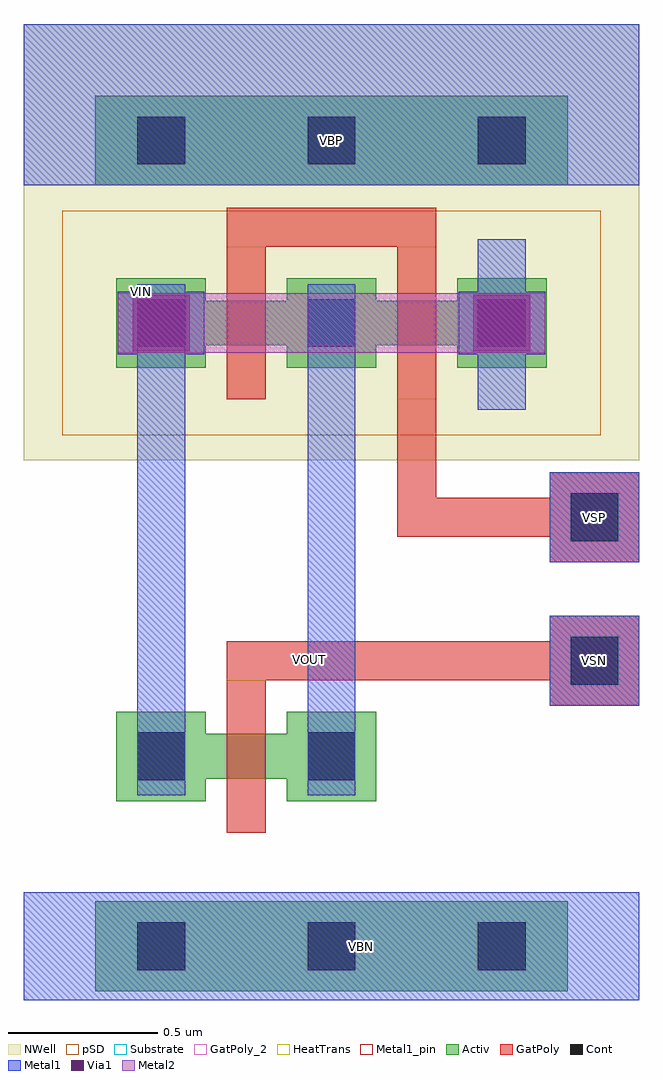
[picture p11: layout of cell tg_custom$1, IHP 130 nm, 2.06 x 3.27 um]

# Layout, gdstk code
import gdstk
lib = gdstk.Library(unit=1e-6, precision=5e-09)
def R(c, l, rs):  # rectangles x0, y0, x1, y1
    for r in rs: c.add(gdstk.rectangle(r[:2], r[2:], *l))
def A(c, l, x, y, w, h, nx, ny, dx, dy):  # array of equal rectangles
    R(c, l, [(x+i*dx, y+j*dy, x+i*dx+w, y+j*dy+h) for i in range(nx) for j in range(ny)])
Activ = (1, 0)
GatPoly = (5, 0)
GatPoly_2 = (5, 2)
Cont = (6, 0)
Metal1 = (8, 0)
Metal1_pin = (8, 2)
Metal2 = (10, 0)
pSD = (14, 0)
Via1 = (19, 0)
NWell = (31, 0)
Substrate = (40, 0)
HeatTrans = (51, 0)

pmos_3 = lib.new_cell('pmos$3')
A(pmos_3, Activ, 0, 0, 0.3, 0.3, 3, 1, 0.57, 0)
R(pmos_3, Activ, [(0,0.075,1.44,0.225)])
R(pmos_3, GatPoly, [(0.37,-0.105,0.5,0.405), (0.37,-0.105,0.5,0.405), (0.94,-0.105,1.07,0.405)])
A(pmos_3, Cont, 0.07, 0.07, 0.16, 0.16, 3, 1, 0.57, 0)
R(pmos_3, Metal1, [(0.07,0.02,0.23,0.28), (0.07,0.02,0.23,0.28), (0.64,0.02,0.8,0.28), (0.64,0.02,0.8,0.28), (1.21,0.02,1.37,0.28)])
R(pmos_3, pSD, [(-0.18,-0.225,1.62,0.525)])
R(pmos_3, NWell, [(-0.31,-0.31,1.75,0.61)])
R(pmos_3, Substrate, [(1.14,0,1.44,0.3)])
R(pmos_3, HeatTrans, [(0.37,-0.105,0.5,0.405), (0.94,-0.105,1.07,0.405)])
pmos_3.add(gdstk.Label('pmos', (0.435,0.15), layer=63, texttype=0))
pmos_3.add(gdstk.Label('pmos', (0.435,0.15), layer=51, texttype=0))
pmos_3.add(gdstk.Label('pmos', (1.005,0.15), layer=51, texttype=0))

nmos_1 = lib.new_cell('nmos$1')
R(nmos_1, Activ, [(0,0,0.3,0.3), (0.57,0,0.87,0.3), (0,0.075,0.87,0.225)])
R(nmos_1, GatPoly, [(0.37,-0.105,0.5,0.405)])
R(nmos_1, GatPoly_2, [(0.37,-0.105,0.5,0.405)])
R(nmos_1, Cont, [(0.07,0.07,0.23,0.23), (0.64,0.07,0.8,0.23)])
R(nmos_1, Metal1, [(0.07,0.02,0.23,0.28), (0.64,0.02,0.8,0.28)])
R(nmos_1, Metal1_pin, [(0.07,0.02,0.23,0.28), (0.64,0.02,0.8,0.28)])
R(nmos_1, HeatTrans, [(0.37,-0.105,0.5,0.405)])
nmos_1.add(gdstk.Label('nmos', (0.435,0.15), layer=63, texttype=0))
nmos_1.add(gdstk.Label('nmos', (0.435,0.15), layer=51, texttype=0))

tg_custom_1 = lib.new_cell('tg_custom$1')
R(tg_custom_1, Activ, [(0.445,0.87,2.025,1.17), (0.445,0.87,2.025,1.17), (0.445,0.87,2.025,1.17), (0.445,0.87,2.025,1.17), (0.445,0.87,2.025,1.17), (0.445,0.87,2.025,1.17), (0.445,0.87,2.025,1.17), (0.445,0.87,2.025,1.17), (0.445,0.87,2.025,1.17), (0.445,0.87,2.025,1.17), (0.445,3.565,2.025,3.865), (0.445,3.565,2.025,3.865), (0.445,3.565,2.025,3.865), (0.445,3.565,2.025,3.865), (0.445,3.565,2.025,3.865), (0.445,3.565,2.025,3.865), (0.445,3.565,2.025,3.865), (0.445,3.565,2.025,3.865), (0.445,3.565,2.025,3.865), (0.445,3.565,2.025,3.865)])
R(tg_custom_1, GatPoly, [(1.965,1.825,2.265,2.125), (1.965,1.825,2.265,2.125), (1.965,1.825,2.265,2.125), (1.965,1.825,2.265,2.125), (1.965,1.825,2.265,2.125), (1.965,1.825,2.265,2.125), (1.965,1.825,2.265,2.125), (1.965,1.825,2.265,2.125), (1.965,1.825,2.265,2.125), (1.965,1.825,2.265,2.125), (0.885,1.91,1.965,2.04), (0.885,1.91,1.965,2.04), (0.885,1.91,1.965,2.04), (0.885,1.91,1.965,2.04), (0.885,1.91,1.965,2.04), (0.885,1.91,1.965,2.04), (0.885,1.91,1.965,2.04), (0.885,1.91,1.965,2.04), (0.885,1.91,1.965,2.04), (0.885,1.91,1.965,2.04), (1.965,2.305,2.265,2.605), (1.965,2.305,2.265,2.605), (1.965,2.305,2.265,2.605), (1.965,2.305,2.265,2.605), (1.965,2.305,2.265,2.605), (1.965,2.305,2.265,2.605), (1.965,2.305,2.265,2.605), (1.965,2.305,2.265,2.605), (1.965,2.305,2.265,2.605), (1.965,2.305,2.265,2.605), (1.455,2.39,1.965,2.52), (1.455,2.39,1.965,2.52), (1.455,2.39,1.965,2.52), (1.455,2.39,1.965,2.52), (1.455,2.39,1.965,2.52), (1.455,2.39,1.965,2.52), (1.455,2.39,1.965,2.52), (1.455,2.39,1.965,2.52), (1.455,2.39,1.965,2.52), (1.455,2.39,1.965,2.52), (1.455,2.39,1.585,2.85), (1.455,2.39,1.585,2.85), (1.455,2.39,1.585,2.85), (1.455,2.39,1.585,2.85), (1.455,2.39,1.585,2.85), (1.455,2.39,1.585,2.85), (1.455,2.39,1.585,2.85), (1.455,2.39,1.585,2.85), (1.455,2.39,1.585,2.85), (1.455,2.39,1.585,2.85), (0.885,3.36,1.585,3.49), (0.885,3.36,1.585,3.49), (0.885,3.36,1.585,3.49), (0.885,3.36,1.585,3.49), (0.885,3.36,1.585,3.49), (0.885,3.36,1.585,3.49), (0.885,3.36,1.585,3.49), (0.885,3.36,1.585,3.49), (0.885,3.36,1.585,3.49), (0.885,3.36,1.585,3.49)])
R(tg_custom_1, Cont, [(0.585,0.94,0.745,1.1), (0.585,0.94,0.745,1.1), (0.585,0.94,0.745,1.1), (0.585,0.94,0.745,1.1), (0.585,0.94,0.745,1.1), (0.585,0.94,0.745,1.1), (0.585,0.94,0.745,1.1), (0.585,0.94,0.745,1.1), (0.585,0.94,0.745,1.1), (0.585,0.94,0.745,1.1), (1.155,0.94,1.315,1.1), (1.155,0.94,1.315,1.1), (1.155,0.94,1.315,1.1), (1.155,0.94,1.315,1.1), (1.155,0.94,1.315,1.1), (1.155,0.94,1.315,1.1), (1.155,0.94,1.315,1.1), (1.155,0.94,1.315,1.1), (1.155,0.94,1.315,1.1), (1.155,0.94,1.315,1.1), (1.725,0.94,1.885,1.1), (1.725,0.94,1.885,1.1), (1.725,0.94,1.885,1.1), (1.725,0.94,1.885,1.1), (1.725,0.94,1.885,1.1), (1.725,0.94,1.885,1.1), (1.725,0.94,1.885,1.1), (1.725,0.94,1.885,1.1), (1.725,0.94,1.885,1.1), (1.725,0.94,1.885,1.1), (2.035,1.895,2.195,2.055), (2.035,1.895,2.195,2.055), (2.035,1.895,2.195,2.055), (2.035,1.895,2.195,2.055), (2.035,1.895,2.195,2.055), (2.035,1.895,2.195,2.055), (2.035,1.895,2.195,2.055), (2.035,1.895,2.195,2.055), (2.035,1.895,2.195,2.055), (2.035,1.895,2.195,2.055), (2.035,2.375,2.195,2.535), (2.035,2.375,2.195,2.535), (2.035,2.375,2.195,2.535), (2.035,2.375,2.195,2.535), (2.035,2.375,2.195,2.535), (2.035,2.375,2.195,2.535), (2.035,2.375,2.195,2.535), (2.035,2.375,2.195,2.535), (2.035,2.375,2.195,2.535), (0.585,3.635,0.745,3.795), (0.585,3.635,0.745,3.795), (0.585,3.635,0.745,3.795), (0.585,3.635,0.745,3.795), (0.585,3.635,0.745,3.795), (0.585,3.635,0.745,3.795), (0.585,3.635,0.745,3.795), (0.585,3.635,0.745,3.795), (0.585,3.635,0.745,3.795), (0.585,3.635,0.745,3.795), (1.155,3.635,1.315,3.795), (1.155,3.635,1.315,3.795), (1.155,3.635,1.315,3.795), (1.155,3.635,1.315,3.795), (1.155,3.635,1.315,3.795), (1.155,3.635,1.315,3.795), (1.155,3.635,1.315,3.795), (1.155,3.635,1.315,3.795), (1.155,3.635,1.315,3.795), (1.155,3.635,1.315,3.795), (1.725,3.635,1.885,3.795), (1.725,3.635,1.885,3.795), (1.725,3.635,1.885,3.795), (1.725,3.635,1.885,3.795), (1.725,3.635,1.885,3.795), (1.725,3.635,1.885,3.795), (1.725,3.635,1.885,3.795), (1.725,3.635,1.885,3.795), (1.725,3.635,1.885,3.795), (1.725,3.635,1.885,3.795)])
R(tg_custom_1, Metal1, [(0.205,0.84,2.265,1.2), (0.205,0.84,2.265,1.2), (0.205,0.84,2.265,1.2), (0.205,0.84,2.265,1.2), (0.205,0.84,2.265,1.2), (0.205,0.84,2.265,1.2), (0.205,0.84,2.265,1.2), (0.205,0.84,2.265,1.2), (0.205,0.84,2.265,1.2), (0.205,0.84,2.265,1.2), (0.585,1.525,0.745,3.235), (0.585,1.525,0.745,3.235), (0.585,1.525,0.745,3.235), (0.585,1.525,0.745,3.235), (0.585,1.525,0.745,3.235), (0.585,1.525,0.745,3.235), (0.585,1.525,0.745,3.235), (0.585,1.525,0.745,3.235), (0.585,1.525,0.745,3.235), (0.585,1.525,0.745,3.235), (1.155,1.525,1.315,3.235), (1.155,1.525,1.315,3.235), (1.155,1.525,1.315,3.235), (1.155,1.525,1.315,3.235), (1.155,1.525,1.315,3.235), (1.155,1.525,1.315,3.235), (1.155,1.525,1.315,3.235), (1.155,1.525,1.315,3.235), (1.155,1.525,1.315,3.235), (1.155,1.525,1.315,3.235), (1.965,1.825,2.265,2.125), (1.965,1.825,2.265,2.125), (1.965,1.825,2.265,2.125), (1.965,1.825,2.265,2.125), (1.965,1.825,2.265,2.125), (1.965,1.825,2.265,2.125), (1.965,1.825,2.265,2.125), (1.965,1.825,2.265,2.125), (1.965,1.825,2.265,2.125), (1.965,1.825,2.265,2.125), (1.965,2.305,2.265,2.605), (1.965,2.305,2.265,2.605), (1.965,2.305,2.265,2.605), (1.965,2.305,2.265,2.605), (1.965,2.305,2.265,2.605), (1.965,2.305,2.265,2.605), (1.965,2.305,2.265,2.605), (1.965,2.305,2.265,2.605), (1.965,2.305,2.265,2.605), (1.965,2.305,2.265,2.605), (1.725,2.815,1.885,3.385), (1.725,2.815,1.885,3.385), (1.725,2.815,1.885,3.385), (1.725,2.815,1.885,3.385), (1.725,2.815,1.885,3.385), (1.725,2.815,1.885,3.385), (1.725,2.815,1.885,3.385), (1.725,2.815,1.885,3.385), (1.725,2.815,1.885,3.385), (1.725,2.815,1.885,3.385), (0.52,3,0.81,3.21), (0.52,3,0.81,3.21), (0.52,3,0.81,3.21), (0.52,3,0.81,3.21), (0.52,3,0.81,3.21), (0.52,3,0.81,3.21), (0.52,3,0.81,3.21), (0.52,3,0.81,3.21), (0.52,3,0.81,3.21), (0.52,3,0.81,3.21), (1.66,3,1.95,3.21), (1.66,3,1.95,3.21), (1.66,3,1.95,3.21), (1.66,3,1.95,3.21), (1.66,3,1.95,3.21), (1.66,3,1.95,3.21), (1.66,3,1.95,3.21), (1.66,3,1.95,3.21), (1.66,3,1.95,3.21), (1.66,3,1.95,3.21), (0.205,3.565,2.265,4.105), (0.205,3.565,2.265,4.105), (0.205,3.565,2.265,4.105), (0.205,3.565,2.265,4.105), (0.205,3.565,2.265,4.105), (0.205,3.565,2.265,4.105), (0.205,3.565,2.265,4.105), (0.205,3.565,2.265,4.105), (0.205,3.565,2.265,4.105), (0.205,3.565,2.265,4.105)])
R(tg_custom_1, Metal1_pin, [(0.205,0.84,2.265,1.2), (0.205,0.84,2.265,1.2), (0.205,0.84,2.265,1.2), (0.205,0.84,2.265,1.2), (0.205,0.84,2.265,1.2), (0.205,0.84,2.265,1.2), (0.205,0.84,2.265,1.2), (0.205,0.84,2.265,1.2), (0.205,0.84,2.265,1.2), (0.205,0.84,2.265,1.2), (0.585,1.525,0.745,3.235), (0.585,1.525,0.745,3.235), (0.585,1.525,0.745,3.235), (0.585,1.525,0.745,3.235), (0.585,1.525,0.745,3.235), (0.585,1.525,0.745,3.235), (0.585,1.525,0.745,3.235), (0.585,1.525,0.745,3.235), (0.585,1.525,0.745,3.235), (0.585,1.525,0.745,3.235), (1.155,1.525,1.315,3.235), (1.155,1.525,1.315,3.235), (1.155,1.525,1.315,3.235), (1.155,1.525,1.315,3.235), (1.155,1.525,1.315,3.235), (1.155,1.525,1.315,3.235), (1.155,1.525,1.315,3.235), (1.155,1.525,1.315,3.235), (1.155,1.525,1.315,3.235), (1.155,1.525,1.315,3.235), (1.965,1.825,2.265,2.125), (1.965,1.825,2.265,2.125), (1.965,1.825,2.265,2.125), (1.965,1.825,2.265,2.125), (1.965,1.825,2.265,2.125), (1.965,1.825,2.265,2.125), (1.965,1.825,2.265,2.125), (1.965,1.825,2.265,2.125), (1.965,1.825,2.265,2.125), (1.965,1.825,2.265,2.125), (1.965,2.305,2.265,2.605), (1.965,2.305,2.265,2.605), (1.965,2.305,2.265,2.605), (1.965,2.305,2.265,2.605), (1.965,2.305,2.265,2.605), (1.965,2.305,2.265,2.605), (1.965,2.305,2.265,2.605), (1.965,2.305,2.265,2.605), (1.965,2.305,2.265,2.605), (1.965,2.305,2.265,2.605), (0.205,3.565,2.265,4.105), (0.205,3.565,2.265,4.105), (0.205,3.565,2.265,4.105), (0.205,3.565,2.265,4.105), (0.205,3.565,2.265,4.105), (0.205,3.565,2.265,4.105), (0.205,3.565,2.265,4.105), (0.205,3.565,2.265,4.105), (0.205,3.565,2.265,4.105), (0.205,3.565,2.265,4.105)])
R(tg_custom_1, Metal2, [(0.52,3.005,0.81,3.205), (0.52,3.005,0.81,3.205), (0.52,3.005,0.81,3.205), (0.52,3.005,0.81,3.205), (0.52,3.005,0.81,3.205), (0.52,3.005,0.81,3.205), (0.52,3.005,0.81,3.205), (0.52,3.005,0.81,3.205), (0.52,3.005,0.81,3.205), (0.52,3.005,0.81,3.205), (0.52,3.005,1.95,3.205), (0.52,3.005,1.95,3.205), (0.52,3.005,1.95,3.205), (0.52,3.005,1.95,3.205), (0.52,3.005,1.95,3.205), (0.52,3.005,1.95,3.205), (0.52,3.005,1.95,3.205), (0.52,3.005,1.95,3.205), (0.52,3.005,1.95,3.205), (0.52,3.005,1.95,3.205), (1.66,3.005,1.95,3.205), (1.66,3.005,1.95,3.205), (1.66,3.005,1.95,3.205), (1.66,3.005,1.95,3.205), (1.66,3.005,1.95,3.205), (1.66,3.005,1.95,3.205), (1.66,3.005,1.95,3.205), (1.66,3.005,1.95,3.205), (1.66,3.005,1.95,3.205), (1.66,3.005,1.95,3.205)])
R(tg_custom_1, pSD, [(0.205,0.84,2.265,1.2), (0.205,0.84,2.265,1.2), (0.205,0.84,2.265,1.2), (0.205,0.84,2.265,1.2), (0.205,0.84,2.265,1.2), (0.205,0.84,2.265,1.2), (0.205,0.84,2.265,1.2), (0.205,0.84,2.265,1.2), (0.205,0.84,2.265,1.2), (0.205,0.84,2.265,1.2)])
R(tg_custom_1, Via1, [(0.57,3.01,0.76,3.2), (0.57,3.01,0.76,3.2), (0.57,3.01,0.76,3.2), (0.57,3.01,0.76,3.2), (0.57,3.01,0.76,3.2), (0.57,3.01,0.76,3.2), (0.57,3.01,0.76,3.2), (0.57,3.01,0.76,3.2), (0.57,3.01,0.76,3.2), (0.57,3.01,0.76,3.2), (1.71,3.01,1.9,3.2), (1.71,3.01,1.9,3.2), (1.71,3.01,1.9,3.2), (1.71,3.01,1.9,3.2), (1.71,3.01,1.9,3.2), (1.71,3.01,1.9,3.2), (1.71,3.01,1.9,3.2), (1.71,3.01,1.9,3.2), (1.71,3.01,1.9,3.2), (1.71,3.01,1.9,3.2)])
R(tg_custom_1, NWell, [(0.205,3.565,2.265,4.105), (0.205,3.565,2.265,4.105), (0.205,3.565,2.265,4.105), (0.205,3.565,2.265,4.105), (0.205,3.565,2.265,4.105), (0.205,3.565,2.265,4.105), (0.205,3.565,2.265,4.105), (0.205,3.565,2.265,4.105), (0.205,3.565,2.265,4.105), (0.205,3.565,2.265,4.105)])
tg_custom_1.add(gdstk.Reference(pmos_3, (0.515,2.955)))
tg_custom_1.add(gdstk.Reference(nmos_1, (0.515,1.505)))
tg_custom_1.add(gdstk.Label('VBP', (1.235,3.715), layer=8, texttype=25))
tg_custom_1.add(gdstk.Label('VSN', (2.115,1.975), layer=8, texttype=25))
tg_custom_1.add(gdstk.Label('VIN', (0.6,3.21), layer=8, texttype=25))
tg_custom_1.add(gdstk.Label('VSP', (2.115,2.455), layer=8, texttype=25))
tg_custom_1.add(gdstk.Label('VOUT', (1.16,1.98), layer=8, texttype=25))
tg_custom_1.add(gdstk.Label('VBN', (1.335,1.02), layer=8, texttype=25))
tg_custom_1.add(gdstk.Label('VBP', (1.235,3.715), layer=8, texttype=25))
tg_custom_1.add(gdstk.Label('VSN', (2.115,1.975), layer=8, texttype=25))
tg_custom_1.add(gdstk.Label('VIN', (0.6,3.21), layer=8, texttype=25))
tg_custom_1.add(gdstk.Label('VSP', (2.115,2.455), layer=8, texttype=25))
tg_custom_1.add(gdstk.Label('VOUT', (1.16,1.98), layer=8, texttype=25))
tg_custom_1.add(gdstk.Label('VBN', (1.335,1.02), layer=8, texttype=25))
tg_custom_1.add(gdstk.Label('VBP', (1.235,3.715), layer=8, texttype=25))
tg_custom_1.add(gdstk.Label('VSN', (2.115,1.975), layer=8, texttype=25))
tg_custom_1.add(gdstk.Label('VIN', (0.6,3.21), layer=8, texttype=25))
tg_custom_1.add(gdstk.Label('VSP', (2.115,2.455), layer=8, texttype=25))
tg_custom_1.add(gdstk.Label('VOUT', (1.16,1.98), layer=8, texttype=25))
tg_custom_1.add(gdstk.Label('VBN', (1.335,1.02), layer=8, texttype=25))
tg_custom_1.add(gdstk.Label('VBP', (1.235,3.715), layer=8, texttype=25))
tg_custom_1.add(gdstk.Label('VSN', (2.115,1.975), layer=8, texttype=25))
tg_custom_1.add(gdstk.Label('VIN', (0.6,3.21), layer=8, texttype=25))
tg_custom_1.add(gdstk.Label('VSP', (2.115,2.455), layer=8, texttype=25))
tg_custom_1.add(gdstk.Label('VOUT', (1.16,1.98), layer=8, texttype=25))
tg_custom_1.add(gdstk.Label('VBN', (1.335,1.02), layer=8, texttype=25))
tg_custom_1.add(gdstk.Label('VBP', (1.235,3.715), layer=8, texttype=25))
tg_custom_1.add(gdstk.Label('VSN', (2.115,1.975), layer=8, texttype=25))
tg_custom_1.add(gdstk.Label('VIN', (0.6,3.21), layer=8, texttype=25))
tg_custom_1.add(gdstk.Label('VSP', (2.115,2.455), layer=8, texttype=25))
tg_custom_1.add(gdstk.Label('VOUT', (1.16,1.98), layer=8, texttype=25))
tg_custom_1.add(gdstk.Label('VBN', (1.335,1.02), layer=8, texttype=25))
tg_custom_1.add(gdstk.Label('VBP', (1.235,3.715), layer=8, texttype=25))
tg_custom_1.add(gdstk.Label('VSN', (2.115,1.975), layer=8, texttype=25))
tg_custom_1.add(gdstk.Label('VIN', (0.6,3.21), layer=8, texttype=25))
tg_custom_1.add(gdstk.Label('VSP', (2.115,2.455), layer=8, texttype=25))
tg_custom_1.add(gdstk.Label('VOUT', (1.16,1.98), layer=8, texttype=25))
tg_custom_1.add(gdstk.Label('VBN', (1.335,1.02), layer=8, texttype=25))
tg_custom_1.add(gdstk.Label('VBP', (1.235,3.715), layer=8, texttype=25))
tg_custom_1.add(gdstk.Label('VSN', (2.115,1.975), layer=8, texttype=25))
tg_custom_1.add(gdstk.Label('VIN', (0.6,3.21), layer=8, texttype=25))
tg_custom_1.add(gdstk.Label('VSP', (2.115,2.455), layer=8, texttype=25))
tg_custom_1.add(gdstk.Label('VOUT', (1.16,1.98), layer=8, texttype=25))
tg_custom_1.add(gdstk.Label('VBN', (1.335,1.02), layer=8, texttype=25))
tg_custom_1.add(gdstk.Label('VBP', (1.235,3.715), layer=8, texttype=25))
tg_custom_1.add(gdstk.Label('VSN', (2.115,1.975), layer=8, texttype=25))
tg_custom_1.add(gdstk.Label('VIN', (0.6,3.21), layer=8, texttype=25))
tg_custom_1.add(gdstk.Label('VSP', (2.115,2.455), layer=8, texttype=25))
tg_custom_1.add(gdstk.Label('VOUT', (1.16,1.98), layer=8, texttype=25))
tg_custom_1.add(gdstk.Label('VBN', (1.335,1.02), layer=8, texttype=25))
tg_custom_1.add(gdstk.Label('VBP', (1.235,3.715), layer=8, texttype=25))
tg_custom_1.add(gdstk.Label('VSN', (2.115,1.975), layer=8, texttype=25))
tg_custom_1.add(gdstk.Label('VIN', (0.6,3.21), layer=8, texttype=25))
tg_custom_1.add(gdstk.Label('VSP', (2.115,2.455), layer=8, texttype=25))
tg_custom_1.add(gdstk.Label('VOUT', (1.16,1.98), layer=8, texttype=25))
tg_custom_1.add(gdstk.Label('VBN', (1.335,1.02), layer=8, texttype=25))
tg_custom_1.add(gdstk.Label('VBP', (1.235,3.715), layer=8, texttype=25))
tg_custom_1.add(gdstk.Label('VSN', (2.115,1.975), layer=8, texttype=25))
tg_custom_1.add(gdstk.Label('VIN', (0.6,3.21), layer=8, texttype=25))
tg_custom_1.add(gdstk.Label('VSP', (2.115,2.455), layer=8, texttype=25))
tg_custom_1.add(gdstk.Label('VOUT', (1.16,1.98), layer=8, texttype=25))
tg_custom_1.add(gdstk.Label('VBN', (1.335,1.02), layer=8, texttype=25))

lib.write_gds('tg_custom_1.gds')
